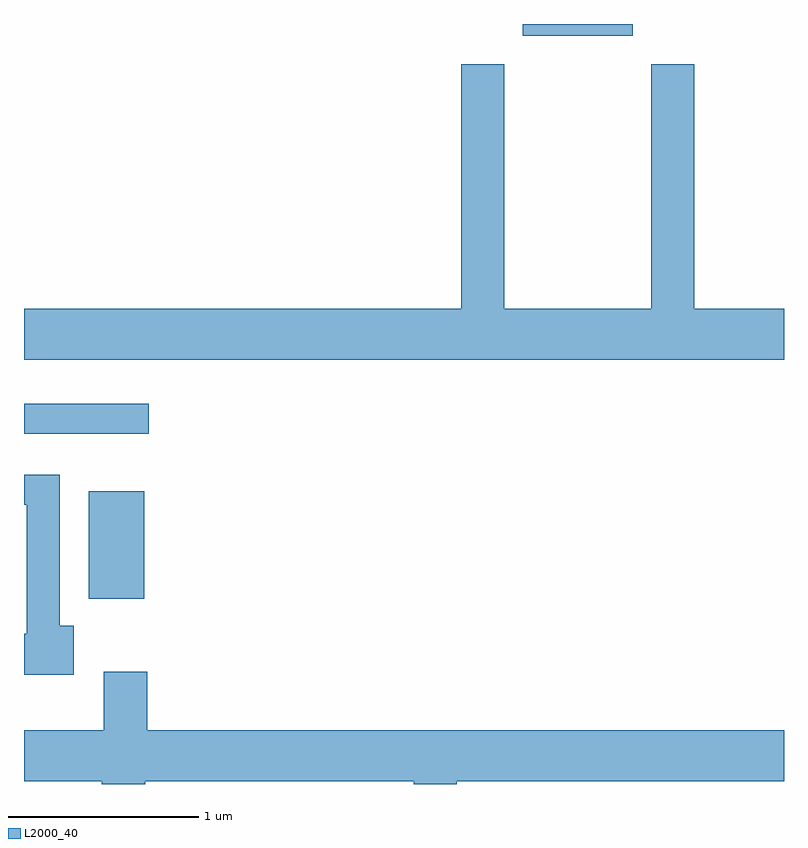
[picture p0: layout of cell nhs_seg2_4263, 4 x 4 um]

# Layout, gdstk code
import gdstk
lib = gdstk.Library(unit=1e-6, precision=1e-09)
def R(c, l, rs):  # rectangles x0, y0, x1, y1
    for r in rs: c.add(gdstk.rectangle(r[:2], r[2:], *l))
def P(c, l, *ps):  # polygons
    for p in ps: c.add(gdstk.Polygon(p, *l))
L2000_40 = (2000, 40)

nhs_seg2_4263 = lib.new_cell('nhs_seg2_4263')
R(nhs_seg2_4263, L2000_40, [(309.951,1104.776,310.244,1105.344), (309.611,1105.646,310.268,1105.804), (312.236,1107.741,312.814,1107.802)])
P(nhs_seg2_4263, L2000_40, [(313.611,1106.304),(313.139,1106.304),(313.139,1107.589),(312.911,1107.589),(312.911,1106.304),(312.139,1106.304),(312.139,1107.589),(311.911,1107.589),(311.911,1106.304),(309.611,1106.304),(309.611,1106.036),(313.611,1106.036)],
  [(309.874,1104.634),(309.799,1104.634),(309.799,1105.429),(309.611,1105.429),(309.611,1105.271),(309.626,1105.271),(309.626,1104.594),(309.611,1104.594),(309.611,1104.376),(309.874,1104.376)],
  [(310.249,1103.816),(311.661,1103.816),(311.661,1103.802),(311.889,1103.802),(311.889,1103.816),(313.611,1103.816),(313.611,1104.084),(310.259,1104.084),(310.259,1104.394),(310.031,1104.394),(310.031,1104.084),(309.611,1104.084),(309.611,1103.816),(310.021,1103.816),(310.021,1103.802),(310.249,1103.802)])

lib.write_gds('nhs_seg2_4263.gds')
